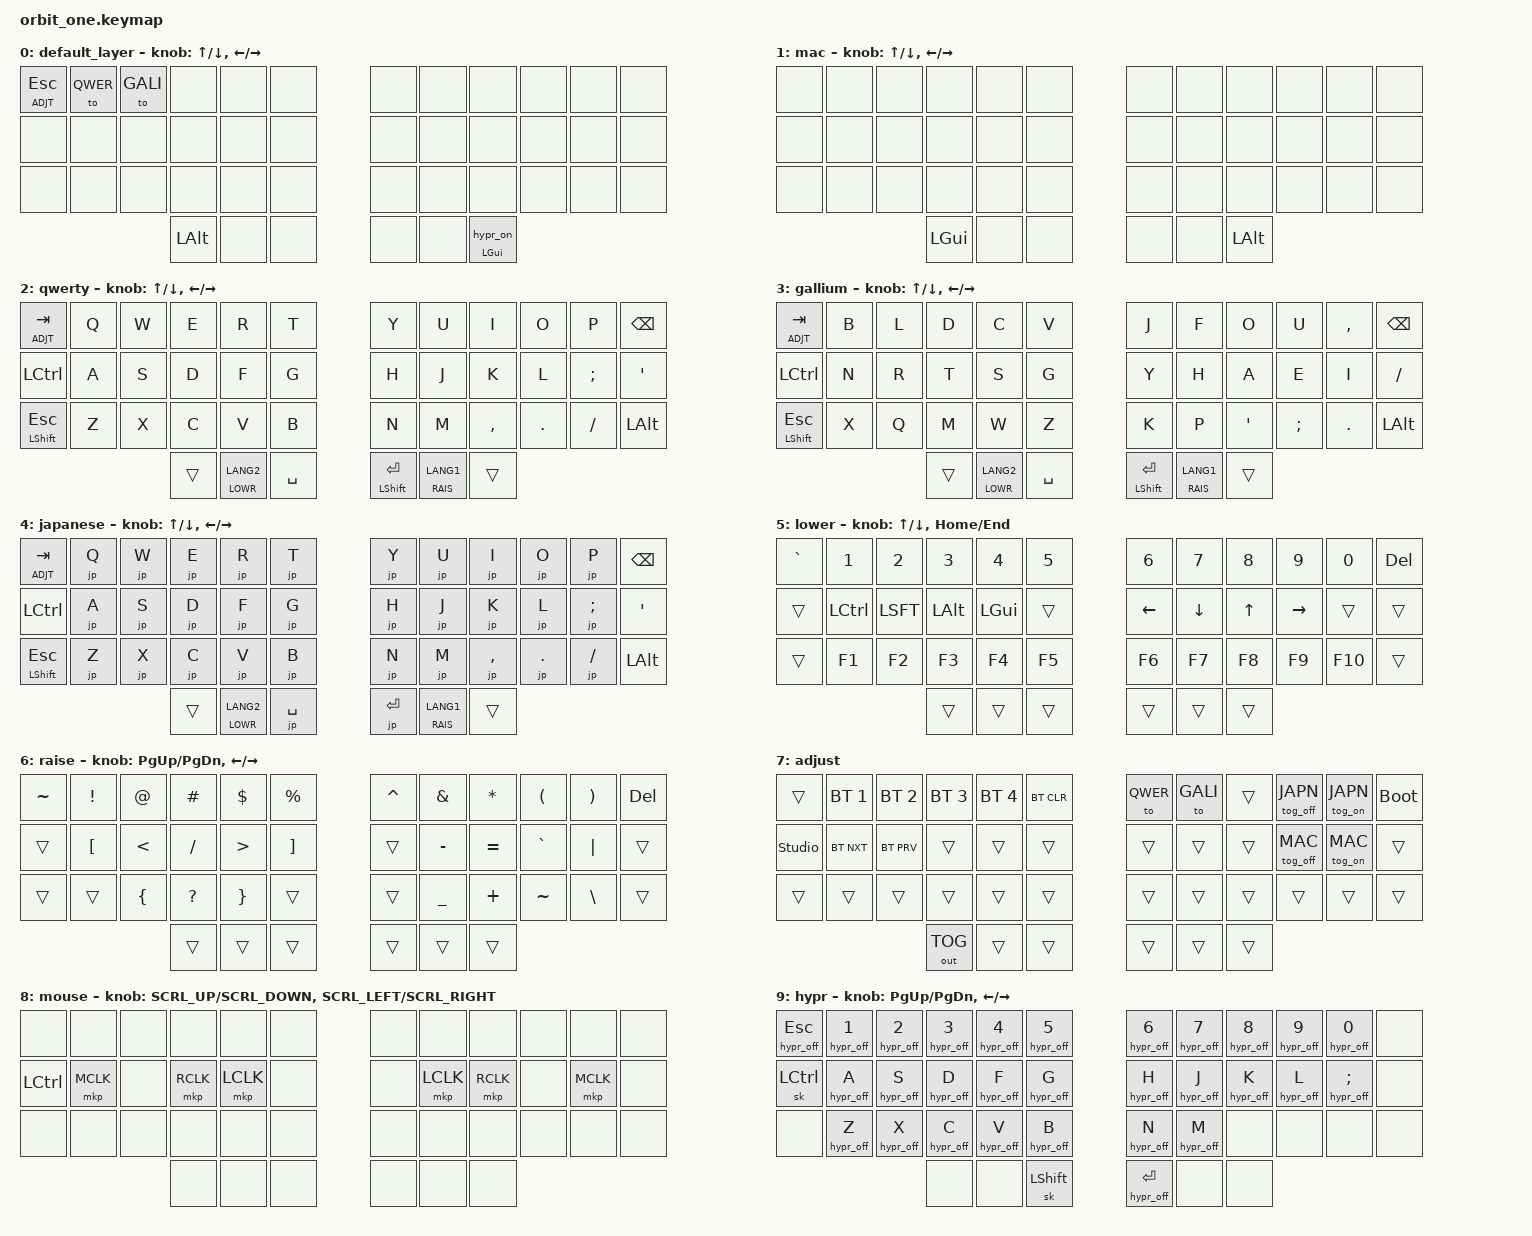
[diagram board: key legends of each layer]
/*
 * Copyright (c) 2021-2025 The ZMK Contributors
 *
 * SPDX-License-Identifier: MIT
 */
#define ZMK_MOUSE_SCRL_VAL 140

#include <behaviors.dtsi>
#include <dt-bindings/zmk/keys.h>
#include <dt-bindings/zmk/bt.h>
#include <dt-bindings/zmk/outputs.h>
#include <dt-bindings/zmk/pointing.h>
#include <behaviors/japanese_input.dtsi>

#define MAC 1
#define QWER 2
#define GALI 3
#define JAPN 4
#define LOWR 5
#define RAIS 6
#define ADJT 7
#define HYPR 9
#define MOUSE 8

// restore layer click mkp key after 250ms
&mkp_input_listener {
  input-processors = <&zip_temp_layer MOUSE 250>;
};

&msc_input_listener {
  input-processors = <&zip_temp_layer MOUSE 250>;
};

&mmv {
  time-to-max-speed-ms = <300>;             /* <--- How long time until max speed is reached (default: 500) */
};

&lt {
  flavor = "hold-preferred";
};    

/ {
  macros {
      hypr_on: hyprland_on {
          compatible = "zmk,behavior-macro";
          #binding-cells = <0>;
          bindings
              = <&macro_tap &tog_on HYPR>
              , <&macro_tap &sk LGUI>
              ;
      };

      hypr_off: hyprland_off {
        compatible = "zmk,behavior-macro-one-param";
        #binding-cells = <1>;
        bindings
              = <&macro_param_1to1 &macro_tap &kp MACRO_PLACEHOLDER>
              , <&macro_tap &tog_off HYPR>
              ;
      };
  };
    
  behaviors {
      
      rot_kp: sensor_rotate_kp {
          compatible = "zmk,behavior-sensor-rotate-var";
          #sensor-binding-cells = <2>;
          bindings = <&kp>, <&kp>;
      };

      rot_msc: sensor_rotate_msc {
          compatible = "zmk,behavior-sensor-rotate-var";
          #sensor-binding-cells = <2>;
          bindings = <&msc>, <&msc>;
          tap-ms = <20>;
      };

      tog_on: toggle_layer_on_only {
          compatible = "zmk,behavior-toggle-layer";
          #binding-cells = <1>;
          display-name = "Toggle Layer On";
          toggle-mode = "on";
      };

      tog_off: toggle_layer_off_only {
          compatible = "zmk,behavior-toggle-layer";
          #binding-cells = <1>;
          display-name = "Toggle Layer Off";
          toggle-mode = "off";
      };

      mt_hypr: mt_hypr {
            compatible = "zmk,behavior-hold-tap";
            display-name = "MT for HYPR";
            bindings = <&kp>, <&hypr_on>;

            #binding-cells = <2>;
            tapping-term-ms = <200>;
            flavor = "balanced";
            quick-tap-ms = <200>;
      };
  };

  keymap {
    compatible = "zmk,keymap";

    default_layer {
      bindings = <
  &lt ADJT ESC   &to QWER &to GALI &none     &none    &none                     &none    &none    &none     &none   &none    &none
  &none          &none    &none    &none     &none    &none                     &none    &none    &none     &none   &none    &none
  &none          &none    &none    &none     &none    &none                     &none    &none    &none     &none   &none    &none
                                &kp LALT     &none    &none                     &none    &none    &mt_hypr LGUI 0
      >;

        sensor-bindings = <&rot_kp UP DOWN &rot_kp LEFT RIGHT>;
    };
    mac {
      bindings = <
  &none   &none    &none &none     &none    &none                     &none    &none    &none     &none   &none    &none
  &none   &none    &none &none     &none    &none                     &none    &none    &none     &none   &none    &none
  &none   &none    &none &none     &none    &none                     &none    &none    &none     &none   &none    &none
                         &kp LGUI  &none    &none                     &none    &none    &kp LALT
      >;

        sensor-bindings = <&rot_kp UP DOWN &rot_kp LEFT RIGHT>;
    };

    qwerty {
      bindings = <
  &lt ADJT TAB  &kp Q &kp W &kp E     &kp R          &kp T                    &kp Y           &kp U          &kp I     &kp O   &kp P    &kp BSPC
  &kp LCTRL     &kp A &kp S &kp D     &kp F          &kp G                    &kp H           &kp J          &kp K     &kp L   &kp SEMI &kp SQT
  &mt LSHFT ESC &kp Z &kp X &kp C     &kp V          &kp B                    &kp N           &kp M          &kp COMMA &kp DOT &kp FSLH &kp LALT
                            &trans    &lt LOWR LANG2 &kp SPACE                &mt LSHFT ENTER &lt RAIS LANG1 &trans
      >;
      sensor-bindings = <&rot_kp UP DOWN &rot_kp LEFT RIGHT>;
    };

    gallium {
      bindings = <
  &lt ADJT TAB  &kp B &kp L &kp D     &kp C          &kp V                    &kp J           &kp F           &kp O     &kp U    &kp COMMA &kp BSPC
  &kp LCTRL     &kp N &kp R &kp T     &kp S          &kp G                    &kp Y           &kp H           &kp A     &kp E    &kp I     &kp FSLH
  &mt LSHFT ESC &kp X &kp Q &kp M     &kp W          &kp Z                    &kp K           &kp P           &kp SQT   &kp SEMI &kp DOT   &kp LALT
                            &trans  &lt LOWR LANG2 &kp SPACE                &mt LSHFT ENTER &lt RAIS LANG1  &trans
      >;

          sensor-bindings = <&rot_kp UP DOWN &rot_kp LEFT RIGHT>;
    };

    japanese {
      bindings = <
  &lt ADJT TAB  &jp Q &jp W &jp E     &jp R          &jp T                    &jp Y     &jp U          &jp I     &jp O   &jp P    &kp BSPC
  &kp LCTRL     &jp A &jp S &jp D     &jp F          &jp G                    &jp H     &jp J          &jp K     &jp L   &jp SEMI &kp SQT
  &mt LSHFT ESC &jp Z &jp X &jp C     &jp V          &jp B                    &jp N     &jp M          &jp COMMA &jp DOT &jp FSLH &kp LALT
                            &trans    &lt LOWR LANG2 &jp SPACE                &jp ENTER &lt RAIS LANG1 &trans
      >;
      sensor-bindings = <&rot_kp UP DOWN &rot_kp LEFT RIGHT>;
    };

    lower {
      bindings = <
  &kp GRAVE &kp N1    &kp N2   &kp N3   &kp N4   &kp N5           &kp N6   &kp N7   &kp N8 &kp N9    &kp N0  &kp DEL
  &trans    &kp LCTRL &kp LSFT &kp LALT &kp LGUI &trans           &kp LEFT &kp DOWN &kp UP &kp RIGHT &trans  &trans
  &trans    &kp F1    &kp F2   &kp F3   &kp F4   &kp F5           &kp F6   &kp F7   &kp F8 &kp F9    &kp F10 &trans
                               &trans   &trans   &trans           &trans   &trans   &trans
      >;

          sensor-bindings = <&rot_kp UP DOWN &rot_kp HOME END>;
    };
    raise {
      bindings = <
  &kp TILDE &kp EXCL &kp AT   &kp HASH  &kp DOLLAR &kp PERCENT    &kp CARET  &kp AMPS  &kp ASTRK &kp LPRN  &kp RPRN &kp DEL
  &trans    &kp LBKT &kp LT   &kp FSLH  &kp GT     &kp RBKT       &trans     &kp MINUS &kp EQUAL &kp GRAVE &kp PIPE &trans
  &trans    &trans   &kp LBRC &kp QMARK &kp RBRC   &trans         &trans     &kp UNDER &kp PLUS  &kp TILDE &kp BSLH &trans
                                 &trans &trans     &trans         &trans     &trans    &trans
      >;

          sensor-bindings = <&rot_kp PG_UP PG_DN &rot_kp LEFT RIGHT>;
    };

    adjust {
      bindings = <
  &trans         &bt BT_SEL 1 &bt BT_SEL 2 &bt BT_SEL 3 &bt BT_SEL 4 &bt BT_CLR      &to QWER &to GALI &trans &tog_off JAPN &tog_on JAPN &bootloader
  &studio_unlock &bt BT_NXT   &bt BT_PRV   &trans       &trans       &trans          &trans   &trans   &trans &tog_off MAC  &tog_on MAC  &trans
  &trans         &trans       &trans       &trans       &trans       &trans          &trans   &trans   &trans &trans        &trans       &trans
                                           &out OUT_TOG &trans       &trans          &trans   &trans   &trans
      >;
    };

    mouse {
      bindings = <
  &none     &none     &none    &none     &none     &none                     &none    &none     &none     &none   &none     &none
  &kp LCTL  &mkp MCLK &none    &mkp RCLK &mkp LCLK &none                     &none    &mkp LCLK &mkp RCLK &none   &mkp MCLK &none
  &none     &none     &none    &none     &none     &none                     &none    &none     &none     &none   &none     &none
                               &none     &none     &none                     &none    &none     &none
      >;

        sensor-bindings = <&rot_msc SCRL_UP SCRL_DOWN &rot_msc SCRL_LEFT SCRL_RIGHT>;
    };

    hypr {
      bindings = <
  &hypr_off ESC &hypr_off N1   &hypr_off N2 &hypr_off N3  &hypr_off N4   &hypr_off N5        &hypr_off N6    &hypr_off N7    &hypr_off N8 &hypr_off N9  &hypr_off N0   &none
  &sk LCTRL     &hypr_off A    &hypr_off S  &hypr_off D   &hypr_off F    &hypr_off G         &hypr_off H     &hypr_off J     &hypr_off K  &hypr_off L   &hypr_off SEMI &none
  &none         &hypr_off Z    &hypr_off X  &hypr_off C   &hypr_off V    &hypr_off B         &hypr_off N     &hypr_off M     &none        &none         &none          &none
                                            &none         &none          &sk LSHIFT          &hypr_off ENTER &none           &none
      >;

          sensor-bindings = <&rot_kp PG_UP PG_DN &rot_kp LEFT RIGHT>;
    };

  };
};
